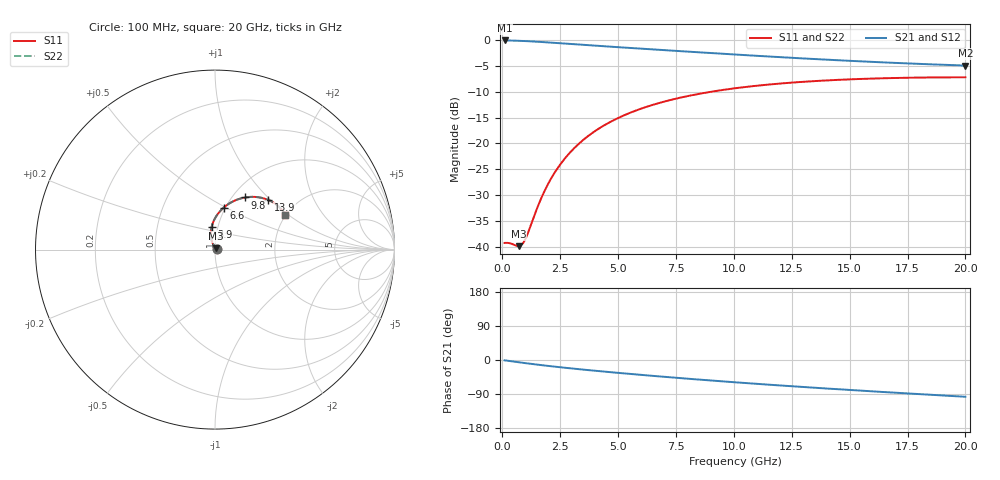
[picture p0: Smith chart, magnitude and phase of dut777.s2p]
! Touchstone file exported from HFSS 2024.1.0
!  File:  C:/UserFiles/LocalFiles/RDL_TSV_Batchsim/temp_RDL_TSV_777_1779904194.aedt
!  Generated:  02:06:37 AM May 28, 2026
!  Design:  RDL_TSV
!  Project:  temp_RDL_TSV_777_1779904194
!  Setup:  Setup1
!  Solution:  Sweep
! Variables:
!  dtsv = 7.6um
!  hbump = 3um
!  htsv = 53.6um
!  ldown = 112.17um
!  lrdl = 216.8um
!  p = 40
!  p1 = 45.41um
!  rhole = 10um
!  subl = 1203.71um
!  t = 450um
!  tdown = 3.22um
!  trdl = 2.67um
!  viad = 10um
!  wdown = 27.7um
!  wrdl = 13.39um
!  xbump = 18um
# GHz S MA R 50.000000
! Terminal data exported
! Port[1] = TM1_1_T1
! Port[2] = TM1_4_T1
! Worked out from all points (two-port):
!   200 points, 100 MHz to 20 GHz, reference 50 ohm
!   highest |S21| = -0.10 dB at 100 MHz (marker M1); lowest = -4.9 dB at 20 GHz (marker M2)
!   |S21| within 3 dB of the highest: start of sweep to 11.11 GHz
!   lowest |S11| = -39.9 dB at 700 MHz (marker M3), VSWR 1.02, Z = 50.7 + j0.724 ohm
!   |S11| at or under -10 dB: start of sweep to 9.035 GHz
!   |S22| runs from -39.9 to -7.2 dB; largest |S21 - S12| = 1.1e-13
!   S11 on the Smith chart (normalised r, x): 100 MHz: 1.02, +0.00; 3.9 GHz: 0.93, +0.24; 6.6 GHz: 0.98, +0.49; 9.8 GHz: 1.14, +0.75; 13.9 GHz: 1.46, +0.97; 20 GHz: 1.98, +0.94
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0.1  0.01092 5.6  0.9889 -0.9  0.9889 -0.9  0.01092 5.6
! Gamma 0 0 0 0
! Port Impedance 50 0 50 0
0.3  0.01089 16.1  0.9875 -2.6  0.9875 -2.6  0.01089 16.1
0.7  0.01016 44.6  0.9816 -5.9  0.9816 -5.9  0.01016 44.6
0.9  0.01089 65.5  0.9775 -7.5  0.9775 -7.5  0.01089 65.5
1  0.01193 75.6  0.9753 -8.3  0.9753 -8.3  0.01193 75.6
1.7  0.03015 108.1  0.9558 -13.6  0.9558 -13.6  0.03015 108.1
1.9  0.03753 109.9  0.9495 -15.1  0.9495 -15.1  0.03753 109.9
2.2  0.0496 110.3  0.9397 -17.1  0.9397 -17.1  0.04959 110.3
2.8  0.07596 107.4  0.9197 -21.1  0.9197 -21.1  0.07594 107.4
3.5  0.1083 102.0  0.8969 -25.4  0.8969 -25.4  0.1083 102.0
3.9  0.1268 98.7  0.8843 -27.8  0.8843 -27.8  0.1268 98.7
4.5  0.154 93.7  0.8661 -31.2  0.8661 -31.2  0.154 93.7
5.1  0.1802 88.9  0.8487 -34.5  0.8487 -34.5  0.1801 88.9
6.6  0.2396 78.2  0.8076 -42.4  0.8076 -42.4  0.2396 78.2
6.8  0.2469 76.9  0.8023 -43.4  0.8023 -43.4  0.2468 76.9
8.2  0.2927 68.4  0.7667 -50.3  0.7667 -50.3  0.2926 68.4
9.8  0.3354 60.0  0.7288 -57.7  0.7288 -57.7  0.3353 60.0
10.1  0.3424 58.6  0.722 -59.0  0.722 -59.0  0.3423 58.5
13.4  0.3993 45.0  0.6553 -72.9  0.6553 -72.9  0.3992 44.9
13.9  0.4052 43.2  0.6465 -74.8  0.6465 -74.8  0.4051 43.2
16.7  0.4278 34.5  0.6036 -85.4  0.6036 -85.4  0.4276 34.5
20  0.4355 26.3  0.5656 -97.0  0.5656 -97.0  0.4353 26.3
